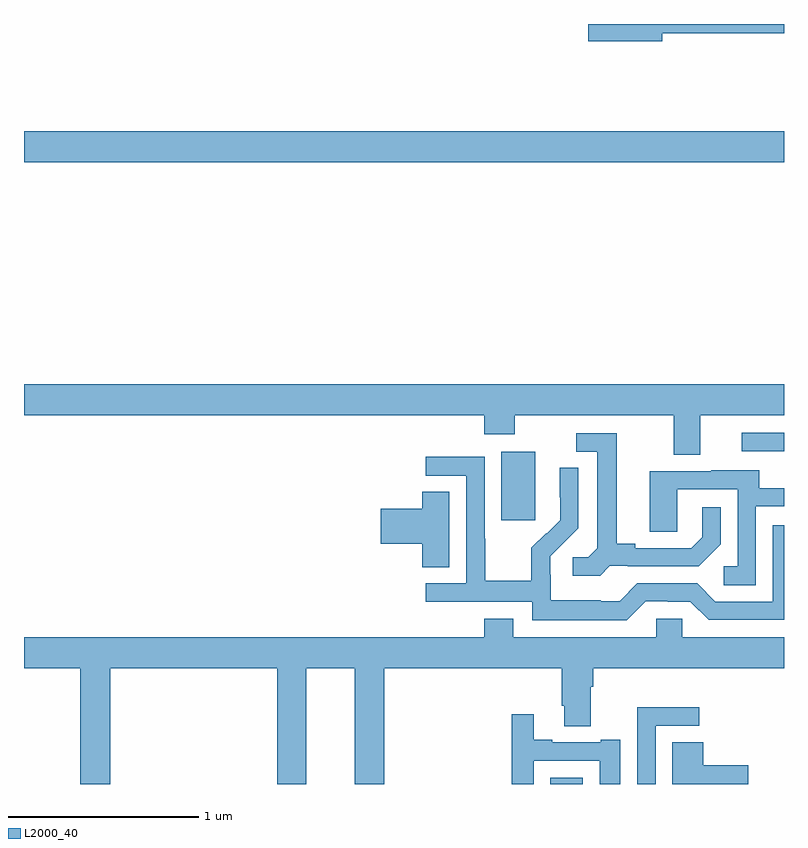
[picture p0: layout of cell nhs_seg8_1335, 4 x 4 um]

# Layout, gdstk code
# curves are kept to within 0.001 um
import gdstk
lib = gdstk.Library(unit=1e-6, precision=1e-09)
def R(c, l, rs):  # rectangles x0, y0, x1, y1
    for r in rs: c.add(gdstk.rectangle(r[:2], r[2:], *l))
def P(c, l, *ps):  # polygons
    for p in ps: c.add(gdstk.Polygon(p, *l))
L2000_40 = (2000, 40)

nhs_seg8_1335 = lib.new_cell('nhs_seg8_1335')
R(nhs_seg8_1335, L2000_40, [(197.771,1107.9,197.941,1107.934), (197.513,1109.289,197.692,1109.65), (198.777,1109.652,199,1109.748), (195,1111.172,199,1111.336)])
P(nhs_seg8_1335, L2000_40, [(198.358,1111.852),(199,1111.852),(199,1111.9),(197.97,1111.9),(197.97,1111.81),(198.358,1111.81)],
  [(198.559,1109.84),(199,1109.84),(199,1110.004),(195,1110.004),(195,1109.84),(197.423,1109.84),(197.423,1109.741),(197.583,1109.741),(197.583,1109.84),(198.419,1109.84),(198.419,1109.632),(198.559,1109.632)],
  [(198.084,1109.049),(198.178,1109.049),(198.178,1109.046),(198.55,1109.046),(198.666,1109.162),(198.666,1109.356),(198.569,1109.356),(198.569,1109.199),(198.512,1109.142),(198.217,1109.142),(198.217,1109.165),(198.121,1109.165),(198.121,1109.745),(197.907,1109.745),(197.907,1109.649),(198.017,1109.649),(198.017,1109.141),(197.97,1109.094),(197.889,1109.094),(197.889,1108.997),(198.032,1108.997)],
  [(198.273,1108.863),(198.389,1108.863),(198.389,1108.86),(198.507,1108.86),(198.603,1108.764),(199,1108.764),(199,1109.262),(198.942,1109.262),(198.942,1108.86),(198.639,1108.86),(198.543,1108.956),(198.228,1108.956),(198.135,1108.863),(198.035,1108.863),(198.035,1108.867),(197.772,1108.867),(197.772,1109.001),(197.77,1109.001),(197.77,1109.098),(197.916,1109.246),(197.916,1109.564),(197.82,1109.564),(197.82,1109.41),(197.822,1109.41),(197.822,1109.288),(197.751,1109.217),(197.748,1109.22),(197.671,1109.143),(197.671,1108.969),(197.427,1108.969),(197.427,1109.192),(197.424,1109.192),(197.424,1109.622),(197.115,1109.622),(197.115,1109.523),(197.328,1109.523),(197.328,1108.956),(197.115,1108.956),(197.115,1108.86),(197.676,1108.86),(197.676,1108.763),(198.173,1108.763)],
  [(198.852,1109.361),(199,1109.361),(199,1109.457),(198.871,1109.457),(198.871,1109.551),(198.617,1109.551),(198.617,1109.547),(198.293,1109.547),(198.293,1109.227),(198.438,1109.227),(198.438,1109.451),(198.756,1109.451),(198.756,1109.046),(198.684,1109.046),(198.684,1108.945),(198.852,1108.945)],
  [(197.239,1109.438),(197.096,1109.438),(197.096,1109.348),(196.878,1109.348),(196.878,1109.165),(197.096,1109.165),(197.096,1109.041),(197.239,1109.041)],
  [(195.455,1108.508),(196.334,1108.508),(196.334,1107.9),(196.486,1107.9),(196.486,1108.508),(196.742,1108.508),(196.742,1107.9),(196.895,1107.9),(196.895,1108.508),(197.831,1108.508),(197.831,1108.312),(197.843,1108.312),(197.843,1108.204),(197.983,1108.204),(197.983,1108.412),(197.996,1108.412),(197.996,1108.508),(199,1108.508),(199,1108.672),(198.465,1108.672),(198.465,1108.77),(198.327,1108.77),(198.327,1108.672),(197.575,1108.672),(197.575,1108.771),(197.423,1108.771),(197.423,1108.672),(195,1108.672),(195,1108.508),(195.295,1108.508),(195.295,1107.9),(195.455,1107.9)],
  [(198.324,1108.206),(198.553,1108.206),(198.553,1108.304),(198.228,1108.304),(198.228,1107.9),(198.324,1107.9)],
  [(197.682,1108.023),(198.029,1108.023),(198.029,1107.9),(198.139,1107.9),(198.139,1108.132),(198.035,1108.132),(198.035,1108.119),(197.779,1108.119),(197.779,1108.132),(197.683,1108.132),(197.683,1108.267),(197.566,1108.267),(197.566,1107.9),(197.682,1107.9)],
  [(198.811,1107.998),(198.575,1107.998),(198.575,1108.121),(198.413,1108.121),(198.413,1107.9),(198.811,1107.9)])

lib.write_gds('nhs_seg8_1335.gds')
